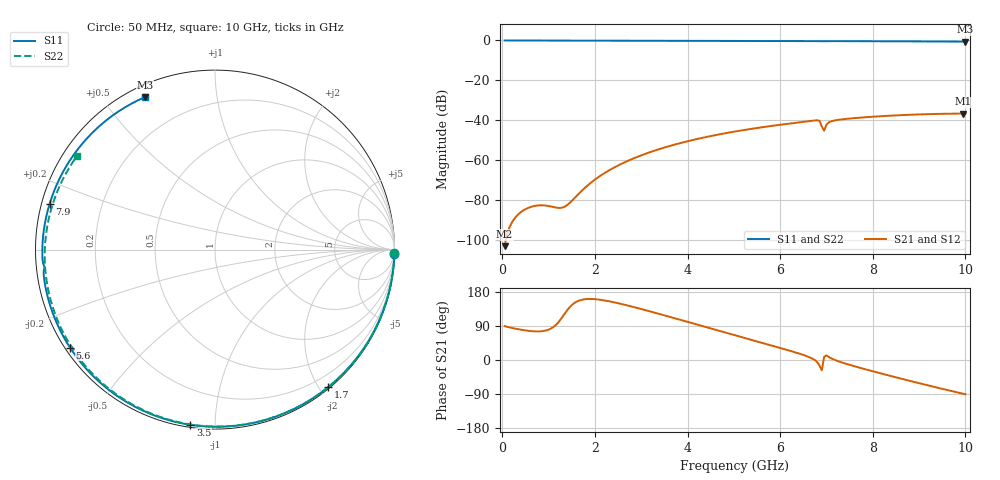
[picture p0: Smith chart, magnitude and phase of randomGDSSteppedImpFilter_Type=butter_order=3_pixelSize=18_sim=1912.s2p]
! freq	dB(S11)	phase(S11)	dB(S12)	phase(S12)
!  dB(S21)	phase(S21)	dB(S22)	phase(S22)
!S-par simulation data
#  GHz  S  DB  R 50
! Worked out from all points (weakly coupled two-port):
!   200 points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, 50 MHz to 10 GHz, reference 50 ohm
!   highest |S21| = -36.63 dB at 9.95 GHz (marker M1); lowest = -103.0 dB at 50 MHz (marker M2)
!   lowest |S11| = -0.6 dB at 10 GHz (marker M3), VSWR 29.71, Z = 2.37 + j32 ohm
!   |S11| at or under -10 dB: nowhere
!   |S22| runs from -0.6 to 0.0 dB; largest |S21 - S12| = 0
!   S11 on the Smith chart (normalised r, x): 50 MHz: 0, -74; 1.7 GHz: 0.02, -2.12; 3.5 GHz: 0.01, -0.87; 5.6 GHz: 0.01, -0.31; 7.9 GHz: 0.02, +0.14; 10 GHz: 0.05, +0.64
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0.05  -0.00 -1.5  -103.01 89.6  -103.01 89.6  -0.00 -1.2
0.75  -0.03 -22.7  -82.67 75.4  -82.67 75.4  -0.02 -17.3
1.5  -0.06 -44.7  -80.38 144.9  -80.38 144.9  -0.04 -34.3
1.7  -0.06 -50.4  -75.64 158.4  -75.64 158.4  -0.05 -38.8
1.75  -0.06 -51.9  -74.53 159.8  -74.53 159.8  -0.05 -39.9
2.05  -0.07 -60.2  -68.85 159.9  -68.85 159.9  -0.06 -46.5
2.45  -0.09 -71.1  -63.21 151.3  -63.21 151.3  -0.07 -55.2
3.4  -0.12 -95.5  -54.34 121.2  -54.34 121.2  -0.10 -75.3
3.5  -0.12 -98.0  -53.63 117.8  -53.63 117.8  -0.10 -77.4
4.25  -0.15 -115.8  -49.12 92.1  -49.12 92.1  -0.13 -92.7
5.05  -0.19 -133.9  -45.50 64.5  -45.50 64.5  -0.17 -108.6
5.6  -0.22 -145.9  -43.50 45.7  -43.50 45.7  -0.20 -119.3
6.7  -0.30 -169.6  -40.18 3.4  -40.18 3.4  -0.27 -140.9
6.85  -0.34 -173.0  -40.25 -14.6  -40.25 -14.6  -0.29 -143.9
6.95  -0.38 -174.5  -45.21 8.6  -45.21 8.6  -0.31 -145.7
7  -0.34 -175.6  -42.13 12.2  -42.13 12.2  -0.31 -146.7
7.1  -0.33 -177.9  -40.51 4.5  -40.51 4.5  -0.31 -148.7
7.9  -0.39 164.5  -38.35 -26.5  -38.35 -26.5  -0.38 -165.1
8.35  -0.43 154.4  -37.70 -41.0  -37.70 -41.0  -0.43 -174.7
9.2  -0.51 134.6  -36.89 -67.2  -36.89 -67.2  -0.54 166.0
9.95  -0.58 115.9  -36.63 -89.0  -36.63 -89.0  -0.63 147.1
10  -0.58 114.6  -36.64 -90.4  -36.64 -90.4  -0.64 145.7
